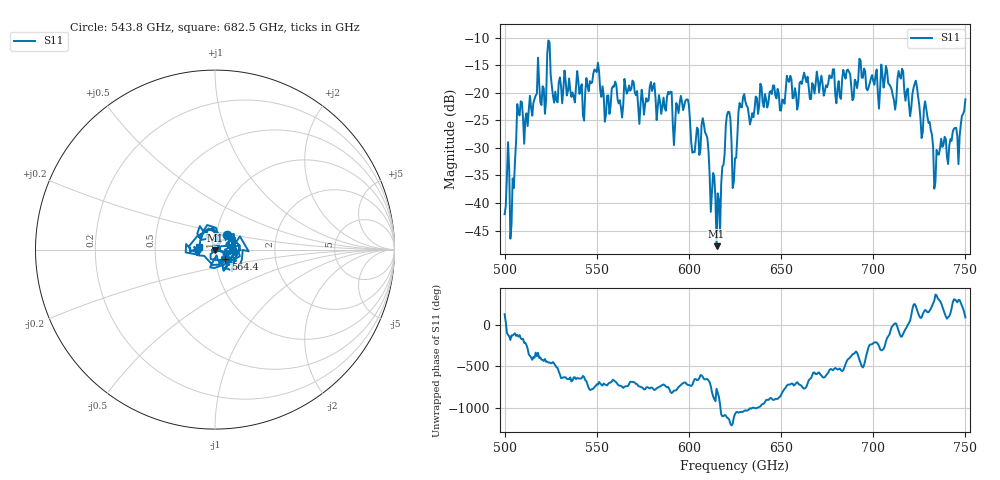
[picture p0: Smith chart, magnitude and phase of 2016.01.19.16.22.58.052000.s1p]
!Created with skrf (http://scikit-rf.org).
# GHz S RI R 50.0
!freq ReS11 ImS11
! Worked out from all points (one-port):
!   401 points, 500 GHz to 750 GHz, reference 50 ohm
!   lowest |S11| = -47.8 dB at 615 GHz (marker M1), VSWR 1.01, Z = 50.2 - j0.328 ohm
!   |S11| at or under -10 dB: start of sweep to end of sweep
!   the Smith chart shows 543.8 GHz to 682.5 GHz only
!   S11 on the Smith chart (normalised r, x): 543.8 GHz: 1.12, +0.18; 564.4 GHz: 1.11, -0.12; 682.5 GHz: 0.84, +0.03
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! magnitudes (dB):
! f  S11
! 500 GHz  -42.0
! 504.4 GHz  -35.5
! 508.1 GHz  -24.1
! 521.2 GHz  -19.2
! 524.4 GHz  -10.8
! 527.5 GHz  -19.8
! 531.2 GHz  -21.9
! 543.8 GHz  -19.9
! 550 GHz  -16.2
! 562.5 GHz  -21.3
! 564.4 GHz  -22.1
! 593.8 GHz  -22.4
! 598.8 GHz  -21.2
! 602.5 GHz  -30.7
! 608.8 GHz  -27.2
! 615 GHz  -47.8
! 616.2 GHz  -39.4
! 621.2 GHz  -23.4
! 625 GHz  -31.9
! 628.8 GHz  -22.6
! 656.2 GHz  -21.0
! 682.5 GHz  -21.1
! 687.5 GHz  -16.6
! 715 GHz  -17.4
! 718.8 GHz  -19.2
! 723.1 GHz  -17.8
! 734.4 GHz  -30.4
! 750 GHz  -21.2
